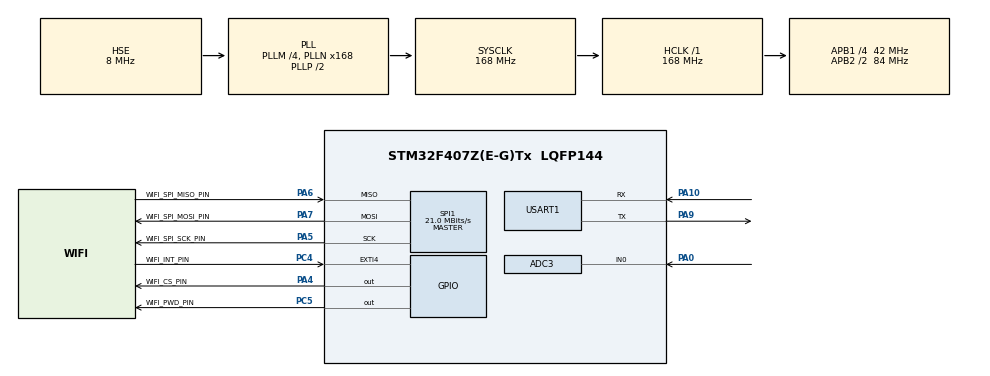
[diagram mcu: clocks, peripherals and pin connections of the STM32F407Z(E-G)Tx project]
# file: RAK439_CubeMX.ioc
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ADC3.Channel-0\#ChannelRegularConversion=ADC_CHANNEL_0
ADC3.NbrOfConversionFlag=1
ADC3.Rank-0\#ChannelRegularConversion=1
ADC3.SamplingTime-0\#ChannelRegularConversion=ADC_SAMPLETIME_3CYCLES
FREERTOS.INCLUDE_eTaskGetState=1
FREERTOS.INCLUDE_pcTaskGetTaskName=1
FREERTOS.INCLUDE_uxTaskGetStackHighWaterMark=1
FREERTOS.INCLUDE_vTaskCleanUpResources=1
FREERTOS.INCLUDE_vTaskDelayUntil=1
FREERTOS.Mutexes01=buf_mutex
FREERTOS.Tasks01=defaultTask,-3,128,StartDefaultTask;appTask,1,256,StartAppTask;clientTask,0,256,StartClientTask;mallocTask,0,128,StartMallocTask
FREERTOS.configCHECK_FOR_STACK_OVERFLOW=2
FREERTOS.configGENERATE_RUN_TIME_STATS=1
FREERTOS.configTOTAL_HEAP_SIZE=102400
FREERTOS.configUSE_MALLOC_FAILED_HOOK=1
FREERTOS.configUSE_TIMERS=0
FREERTOS.configUSE_TRACE_FACILITY=1
Mcu.Family=STM32F4
Mcu.Name=STM32F407Z(E-G)Tx
Mcu.Package=LQFP144
NVIC.EXTI4_IRQn=true\:5\:0\:true\:false\:true\:true
NVIC.PriorityGroup=NVIC_PRIORITYGROUP_4
NVIC.TIM1_UP_TIM10_IRQn=true\:0\:0\:false\:false\:true\:false
NVIC.TIM3_IRQn=true\:5\:0\:false\:false\:true\:true
NVIC.TimeBase=TIM1_UP_TIM10_IRQn
NVIC.TimeBaseIP=TIM1
PA0-WKUP.Signal=ADCx_IN0
PA10.Mode=Asynchronous
PA10.Signal=USART1_RX
PA4.GPIO_Label=WIFI_CS_PIN
PA4.GPIO_ModeDefaultOutputPP=GPIO_MODE_OUTPUT_PP
PA4.GPIO_PuPd=GPIO_PULLUP
PA4.GPIO_Speed=GPIO_SPEED_FREQ_HIGH
PA4.Signal=GPIO_Output
PA5.GPIO_Label=WIFI_SPI_SCK_PIN
PA5.GPIO_PuPd=GPIO_PULLUP
PA5.GPIO_Speed=GPIO_SPEED_FREQ_HIGH
PA5.Mode=Full_Duplex_Master
PA5.Signal=SPI1_SCK
PA6.GPIO_Label=WIFI_SPI_MISO_PIN
PA6.GPIO_PuPd=GPIO_PULLUP
PA6.GPIO_Speed=GPIO_SPEED_FREQ_HIGH
PA6.Mode=Full_Duplex_Master
PA6.Signal=SPI1_MISO
PA7.GPIO_Label=WIFI_SPI_MOSI_PIN
PA7.GPIO_PuPd=GPIO_PULLUP
PA7.GPIO_Speed=GPIO_SPEED_FREQ_HIGH
PA7.Mode=Full_Duplex_Master
PA7.Signal=SPI1_MOSI
PA9.Mode=Asynchronous
PA9.Signal=USART1_TX
PC14-OSC32_IN.Mode=LSE-External-Oscillator
PC14-OSC32_IN.Signal=RCC_OSC32_IN
PC15-OSC32_OUT.Mode=LSE-External-Oscillator
PC15-OSC32_OUT.Signal=RCC_OSC32_OUT
PC4.GPIO_Label=WIFI_INT_PIN
PC4.GPIO_ModeDefaultEXTI=GPIO_MODE_IT_FALLING
PC4.GPIO_PuPd=GPIO_NOPULL
PC4.Signal=GPXTI4
PC5.GPIO_Label=WIFI_PWD_PIN
PC5.GPIO_PuPd=GPIO_PULLUP
PC5.GPIO_Speed=GPIO_SPEED_FREQ_HIGH
PC5.Signal=GPIO_Output
PH0-OSC_IN.Mode=HSE-External-Oscillator
PH0-OSC_IN.Signal=RCC_OSC_IN
PH1-OSC_OUT.Mode=HSE-External-Oscillator
PH1-OSC_OUT.Signal=RCC_OSC_OUT
ProjectManager.HeapSize=0x200
ProjectManager.StackSize=0x400
ProjectManager.TargetToolchain=MDK-ARM V4
RCC.48MHZClocksFreq_Value=84000000
RCC.AHBFreq_Value=168000000
RCC.APB1CLKDivider=RCC_HCLK_DIV4
RCC.APB1Freq_Value=42000000
RCC.APB1TimCLKDivider=1
RCC.APB1TimFreq_Value=42000000
RCC.APB2CLKDivider=RCC_HCLK_DIV2
RCC.APB2Freq_Value=84000000
RCC.APB2TimCLKDivider=1
RCC.APB2TimFreq_Value=84000000
RCC.CortexFreq_Value=168000000
RCC.HCLKFreq_Value=168000000
RCC.HSE_VALUE=8000000
RCC.HSI_VALUE=16000000
RCC.PLLM=4
RCC.PLLN=168
RCC.PLLSourceVirtual=RCC_PLLSOURCE_HSE
RCC.SYSCLKFreq_VALUE=168000000
RCC.SYSCLKSource=RCC_SYSCLKSOURCE_PLLCLK
RCC.VCOOutputFreq_Value=336000000
SH.ADCx_IN0.0=ADC3_IN0,IN0
SPI1.BaudRatePrescaler=SPI_BAUDRATEPRESCALER_4
SPI1.CLKPhase=SPI_PHASE_2EDGE
SPI1.CLKPolarity=SPI_POLARITY_HIGH
SPI1.CRCCalculation=SPI_CRCCALCULATION_DISABLE
SPI1.CalculateBaudRate=21.0 MBits/s
SPI1.Mode=SPI_MODE_MASTER
TIM3.Period=1
TIM3.Prescaler=4200-1
VP_FREERTOS_VS_ENABLE.Mode=Enabled
VP_SYS_VS_tim1.Mode=TIM1
VP_TIM3_VS_ClockSourceINT.Mode=Internal
board=RAK439_CubeMX

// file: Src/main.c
/**
  ******************************************************************************
  * File Name          : main.c
  * Description        : Main program body
  ******************************************************************************
  *
  * COPYRIGHT(c) 2016 STMicroelectronics
  *
  * Redistribution and use in source and binary forms, with or without modification,
  * are permitted provided that the following conditions are met:
  *   1. Redistributions of source code must retain the above copyright notice,
  *      this list of conditions and the following disclaimer.
  *   2. Redistributions in binary form must reproduce the above copyright notice,
  *      this list of conditions and the following disclaimer in the documentation
  *      and/or other materials provided with the distribution.
  *   3. Neither the name of STMicroelectronics nor the names of its contributors
  *      may be used to endorse or promote products derived from this software
  *      without specific prior written permission.
  *
  * THIS SOFTWARE IS PROVIDED BY THE COPYRIGHT HOLDERS AND CONTRIBUTORS "AS IS"
  * AND ANY EXPRESS OR IMPLIED WARRANTIES, INCLUDING, BUT NOT LIMITED TO, THE
  * IMPLIED WARRANTIES OF MERCHANTABILITY AND FITNESS FOR A PARTICULAR PURPOSE ARE
  * DISCLAIMED. IN NO EVENT SHALL THE COPYRIGHT HOLDER OR CONTRIBUTORS BE LIABLE
  * FOR ANY DIRECT, INDIRECT, INCIDENTAL, SPECIAL, EXEMPLARY, OR CONSEQUENTIAL
  * DAMAGES (INCLUDING, BUT NOT LIMITED TO, PROCUREMENT OF SUBSTITUTE GOODS OR
  * SERVICES; LOSS OF USE, DATA, OR PROFITS; OR BUSINESS INTERRUPTION) HOWEVER
  * CAUSED AND ON ANY THEORY OF LIABILITY, WHETHER IN CONTRACT, STRICT LIABILITY,
  * OR TORT (INCLUDING NEGLIGENCE OR OTHERWISE) ARISING IN ANY WAY OUT OF THE USE
  * OF THIS SOFTWARE, EVEN IF ADVISED OF THE POSSIBILITY OF SUCH DAMAGE.
  *
  ******************************************************************************
  */
#include "stm32f4xx_hal.h"
#include "cmsis_os.h"
#include "adc.h"
#include "spi.h"
#include "tim.h"
#include "usart.h"
#include "gpio.h"

/* USER CODE BEGIN PV */
/* Private variables ---------------------------------------------------------*/

/* USER CODE END PV */

void SystemClock_Config(void);
void Error_Handler(void);
void MX_FREERTOS_Init(void);

/* USER CODE BEGIN PFP */
/* Private function prototypes -----------------------------------------------*/

/* USER CODE END PFP */

int main(void)
{

  /* MCU Configuration----------------------------------------------------------*/

  /* Reset of all peripherals, Initializes the Flash interface and the Systick. */
  HAL_Init();

  /* Configure the system clock */
  SystemClock_Config();

  /* Initialize all configured peripherals */
  MX_GPIO_Init();
  MX_USART1_UART_Init();
  MX_ADC3_Init();
  MX_SPI1_Init();
  MX_TIM3_Init();

  /* USER CODE BEGIN 2 */
  printf("HAL_Init is sucess\r\n");
  /* USER CODE END 2 */

  /* Call init function for freertos objects (in freertos.c) */
  MX_FREERTOS_Init();

  /* Start scheduler */
  osKernelStart();

  /* We should never get here as control is now taken by the scheduler */

  /* Infinite loop */
  while (1)
  {

  }

}

/** System Clock Configuration
*/
void SystemClock_Config(void)
{

  RCC_OscInitTypeDef RCC_OscInitStruct;
  RCC_ClkInitTypeDef RCC_ClkInitStruct;

  __HAL_RCC_PWR_CLK_ENABLE();

  __HAL_PWR_VOLTAGESCALING_CONFIG(PWR_REGULATOR_VOLTAGE_SCALE1);

  RCC_OscInitStruct.OscillatorType = RCC_OSCILLATORTYPE_HSE;
  RCC_OscInitStruct.HSEState = RCC_HSE_ON;
  RCC_OscInitStruct.PLL.PLLState = RCC_PLL_ON;
  RCC_OscInitStruct.PLL.PLLSource = RCC_PLLSOURCE_HSE;
  RCC_OscInitStruct.PLL.PLLM = 4;
  RCC_OscInitStruct.PLL.PLLN = 168;
  RCC_OscInitStruct.PLL.PLLP = RCC_PLLP_DIV2;
  RCC_OscInitStruct.PLL.PLLQ = 4;
  if (HAL_RCC_OscConfig(&RCC_OscInitStruct) != HAL_OK)
  {
    Error_Handler();
  }

  RCC_ClkInitStruct.ClockType = RCC_CLOCKTYPE_HCLK|RCC_CLOCKTYPE_SYSCLK
                              |RCC_CLOCKTYPE_PCLK1|RCC_CLOCKTYPE_PCLK2;
  RCC_ClkInitStruct.SYSCLKSource = RCC_SYSCLKSOURCE_PLLCLK;
  RCC_ClkInitStruct.AHBCLKDivider = RCC_SYSCLK_DIV1;
  RCC_ClkInitStruct.APB1CLKDivider = RCC_HCLK_DIV4;
  RCC_ClkInitStruct.APB2CLKDivider = RCC_HCLK_DIV2;
  if (HAL_RCC_ClockConfig(&RCC_ClkInitStruct, FLASH_LATENCY_5) != HAL_OK)
  {
    Error_Handler();
  }

  HAL_SYSTICK_Config(HAL_RCC_GetHCLKFreq()/1000);

  HAL_SYSTICK_CLKSourceConfig(SYSTICK_CLKSOURCE_HCLK);

  /* SysTick_IRQn interrupt configuration */
  HAL_NVIC_SetPriority(SysTick_IRQn, 15, 0);
}

void HAL_TIM_PeriodElapsedCallback(TIM_HandleTypeDef *htim)
{
/* USER CODE BEGIN Callback 0 */
  if(htim->Instance == TIM3) {
    Tim3Counter++;
  }

/* USER CODE END Callback 0 */
  if (htim->Instance == TIM1) {
    HAL_IncTick();
  }
}

void Error_Handler(void)
{
  while(1)
  {
  }
}

#ifdef USE_FULL_ASSERT

/**
   * @brief Reports the name of the source file and the source line number
   * where the assert_param error has occurred.
   * @param file: pointer to the source file name
   * @param line: assert_param error line source number
   * @retval None
   */
void assert_failed(uint8_t* file, uint32_t line)
{
  /* USER CODE BEGIN 6 */
  /* User can add his own implementation to report the file name and line number,
    ex: printf("Wrong parameters value: file %s on line %d\r\n", file, line) */
	while(1){
		printf("Wrong parameters value: file %s on line %d\r\n", file, line);
		osDelay(1000);
	}
  /* USER CODE END 6 */

}

#endif

/************************ (C) COPYRIGHT STMicroelectronics *****END OF FILE****/

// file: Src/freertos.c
/**
******************************************************************************
* File Name          : freertos.c
* Description        : Code for freertos applications
******************************************************************************
*
* COPYRIGHT(c) 2016 STMicroelectronics
*
* Redistribution and use in source and binary forms, with or without modification,
* are permitted provided that the following conditions are met:
*   1. Redistributions of source code must retain the above copyright notice,
*      this list of conditions and the following disclaimer.
*   2. Redistributions in binary form must reproduce the above copyright notice,
*      this list of conditions and the following disclaimer in the documentation
*      and/or other materials provided with the distribution.
*   3. Neither the name of STMicroelectronics nor the names of its contributors
*      may be used to endorse or promote products derived from this software
*      without specific prior written permission.
*
* THIS SOFTWARE IS PROVIDED BY THE COPYRIGHT HOLDERS AND CONTRIBUTORS "AS IS"
* AND ANY EXPRESS OR IMPLIED WARRANTIES, INCLUDING, BUT NOT LIMITED TO, THE
* IMPLIED WARRANTIES OF MERCHANTABILITY AND FITNESS FOR A PARTICULAR PURPOSE ARE
* DISCLAIMED. IN NO EVENT SHALL THE COPYRIGHT HOLDER OR CONTRIBUTORS BE LIABLE
* FOR ANY DIRECT, INDIRECT, INCIDENTAL, SPECIAL, EXEMPLARY, OR CONSEQUENTIAL
* DAMAGES (INCLUDING, BUT NOT LIMITED TO, PROCUREMENT OF SUBSTITUTE GOODS OR
* SERVICES; LOSS OF USE, DATA, OR PROFITS; OR BUSINESS INTERRUPTION) HOWEVER
* CAUSED AND ON ANY THEORY OF LIABILITY, WHETHER IN CONTRACT, STRICT LIABILITY,
* OR TORT (INCLUDING NEGLIGENCE OR OTHERWISE) ARISING IN ANY WAY OUT OF THE USE
* OF THIS SOFTWARE, EVEN IF ADVISED OF THE POSSIBILITY OF SUCH DAMAGE.
*
******************************************************************************
*/

#include "FreeRTOS.h"
#include "task.h"
#include "cmsis_os.h"

/* USER CODE BEGIN Includes */
#include "rw_app.h"
#include "tim.h"
/* USER CODE END Includes */

osThreadId defaultTaskHandle;
osThreadId appTaskHandle;
osThreadId clientTaskHandle;
osThreadId mallocTaskHandle;
osMutexId buf_mutexHandle;
#define SIZE 53

void StartDefaultTask(void const * argument);
void StartAppTask(void const * argument);
void StartClientTask(void const * argument);
void StartMallocTask(void const * argument);

void MX_FREERTOS_Init(void); /* (MISRA C 2004 rule 8.1) */

/* USER CODE BEGIN FunctionPrototypes */

/************************************
// Method:    platform_init
// Date:  	  2016/06/27
// Access:    public
// Returns:   int
// Qualifier:
// Parameter: void
// Function:  配置RAK439参数和初始化驱动 获取RAK439库版本与物理地址
************************************/
int platform_init(void)
{
    rw_DriverParams_t     params;
    int                   ret =0;
    char                  libVersion[20]="";
    char                  module_mac[6] ="";

    /*RAK439用户参数配置*/
    wifi_init_params(&params);

    /*RAK439驱动初始化*/
    ret =rw_sysDriverInit(&params);
    DPRINTF("rw_sysDriverInit ret:%d\r\n",ret);
    if(ret != RW_OK)
    {
        DPRINTF("RAK module platform init...failed\r\n");
        while(1);
    }

    /*获取RAK439库版本*/
    rw_getLibVersion(libVersion);
    DPRINTF("rak wifi LibVersion:%s\r\n", libVersion);

    /*获取RAK439物理地址*/
    rw_getMacAddr(module_mac);
    DPRINTF("rak wifi module-MAC:%02X:%02X:%02X:%02X:%02X:%02X\r\n", module_mac[0],module_mac[1],module_mac[2],module_mac[3],module_mac[4],module_mac[5]);

    return RW_OK;
}

/************************************
// Method:    get_xtask_state
// Date:  	  2016/06/27
// Access:    public
// Returns:   void
// Qualifier:
// Parameter: void
// Function:  获取每个任务的状态信息
************************************/
void get_xtask_state(void)
{
    char tmp[128] = "";
    int res_getstate = 0;
    const char task_state[]={'r','R','B','S','D'};
    volatile UBaseType_t uxArraySize, index;
    uint32_t ulTotalRunTime,ulStatsAsPercentage;
    TaskStatus_t *pxTaskStatusArray = NULL;

    /*获取任务数目，至少有一个任务（该任务为freertos的IDLE空闲任务）*/
    uxArraySize = uxTaskGetNumberOfTasks();
    assert_param(uxArraySize>0);

    /*为任务信息变量分配内存*/
    pxTaskStatusArray = pvPortMalloc(sizeof(TaskStatus_t)*uxArraySize);
    assert_param(pxTaskStatusArray);

    /*获取任务信息*/
    res_getstate = uxTaskGetSystemState(pxTaskStatusArray,uxArraySize,&ulTotalRunTime);
    assert_param(res_getstate);

    //DPRINTF("********************任务信息统计表*********************\r\n\r\n");
    //DPRINTF("任务名    状态    ID  优先级   堆栈  CPU使用率\r\n");
    if (ulTotalRunTime>0)
    {
        for (index=0; index<uxArraySize; index++)
        {
            ulStatsAsPercentage = (uint64_t)(pxTaskStatusArray[index].ulRunTimeCounter)*100 / ulTotalRunTime;
            if (ulStatsAsPercentage > 0UL)
            {
                sprintf(tmp,"%-12s%-6c%-6ld%-8ld%-8d%d%%",
                    pxTaskStatusArray[index].pcTaskName,
                    task_state[pxTaskStatusArray[index].eCurrentState],
                    pxTaskStatusArray[index].xTaskNumber,
                    pxTaskStatusArray[index].uxCurrentPriority,
                    pxTaskStatusArray[index].usStackHighWaterMark,
                    ulStatsAsPercentage);
            }
            else
            {
                sprintf(tmp,"%-12s%-6c%-6ld%-8ld%-8dt<1%%",
                    pxTaskStatusArray[index].pcTaskName,
                    task_state[pxTaskStatusArray[index].eCurrentState],
                    pxTaskStatusArray[index].xTaskNumber,
                    pxTaskStatusArray[index].uxCurrentPriority,
                    pxTaskStatusArray[index].usStackHighWaterMark);
            }
            //DPRINTF("%s\r\n",tmp);
        }
    }
    //DPRINTF("任务状态:   r-运行  R-就绪  B-阻塞  S-挂起  D-删除\r\n");
    DPRINTF("内存剩余量:%d Byte\r\n\r\n",xPortGetFreeHeapSize());

    /*释放内存*/
    vPortFree(pxTaskStatusArray);
}

/* USER CODE END FunctionPrototypes */

/* Hook prototypes */
void configureTimerForRunTimeStats(void);
unsigned long getRunTimeCounterValue(void);
void vApplicationStackOverflowHook(xTaskHandle xTask, signed char *pcTaskName);
void vApplicationMallocFailedHook(void);

/* USER CODE BEGIN 1 */
/* Functions needed when configGENERATE_RUN_TIME_STATS is on */
void configureTimerForRunTimeStats(void)
{
    HAL_TIM_Base_Start_IT(&htim3);
}

unsigned long getRunTimeCounterValue(void)
{
    /*返回定时器3中断处理函数的变量*/
    return Tim3Counter;
}
/* USER CODE END 1 */

/* USER CODE BEGIN 4 */
void vApplicationStackOverflowHook(xTaskHandle xTask, signed char *pcTaskName)
{
    /* Run time stack overflow checking is performed if
    configCHECK_FOR_STACK_OVERFLOW is defined to 1 or 2. This hook function is
    called if a stack overflow is detected. */
    DPRINTF("%s StackOverFlow!\r\n",pcTaskName);
}
/* USER CODE END 4 */

/* USER CODE BEGIN 5 */
void vApplicationMallocFailedHook(void)
{
    /* vApplicationMallocFailedHook() will only be called if
    configUSE_MALLOC_FAILED_HOOK is set to 1 in FreeRTOSConfig.h. It is a hook
    function that will get called if a call to pvPortMalloc() fails.
    pvPortMalloc() is called internally by the kernel whenever a task, queue,
    timer or semaphore is created. It is also called by various parts of the
    demo application. If heap_1.c or heap_2.c are used, then the size of the
    heap available to pvPortMalloc() is defined by configTOTAL_HEAP_SIZE in
    FreeRTOSConfig.h, and the xPortGetFreeHeapSize() API function can be used
    to query the size of free heap space that remains (although it does not
    provide information on how the remaining heap might be fragmented). */
    DPRINTF("vApplicationMallocFailedHook!\r\n");
}
/* USER CODE END 5 */

/* Init FreeRTOS */

void MX_FREERTOS_Init(void) {

    /* Create the mutex(es) */
    /* definition and creation of buf_mutex */
    osMutexDef(buf_mutex);
    buf_mutexHandle = osMutexCreate(osMutex(buf_mutex));

    /* Create the thread(s) */
    /* definition and creation of defaultTask */
    osThreadDef(defaultTask, StartDefaultTask, osPriorityIdle, 0, 128);
    defaultTaskHandle = osThreadCreate(osThread(defaultTask), NULL);

    /* definition and creation of appTask */
    osThreadDef(appTask, StartAppTask, osPriorityAboveNormal, 0, 256);
    appTaskHandle = osThreadCreate(osThread(appTask), NULL);

    /* definition and creation of clientTask */
    //osThreadDef(clientTask, StartClientTask, osPriorityNormal, 0, 256);
    //clientTaskHandle = osThreadCreate(osThread(clientTask), NULL);

    /* definition and creation of mallocTask */
    //osThreadDef(mallocTask, StartMallocTask, osPriorityNormal, 0, 128);
    //mallocTaskHandle = osThreadCreate(osThread(mallocTask), NULL);

}

/* StartDefaultTask function */
void StartDefaultTask(void const * argument)
{

    /* USER CODE BEGIN StartDefaultTask */
    /* Infinite loop */

    /*每隔5秒获取一次每个任务的状态信息*/
    for(;;)
    {
        get_xtask_state();
        osDelay(5000);
    }
    /* USER CODE END StartDefaultTask */
}

/* StartAppTask function */
/************************************
// Method:    StartAppTask
// Date:  	  2016/07/04
// Access:    public
// Returns:   void
// Qualifier:
// Parameter: void const * argument
// Function:  此任务用于检测RAK439连接路由器的状态 从而来控制clientTask任务
************************************/
void StartAppTask(void const * argument)
{
    /* USER CODE BEGIN StartAppTask */

    int ret = RW_OK;
    /*RAK439驱动初始化*/
    platform_init();

    /*初始化app变量*/
    rw_appdemo_context_init();

    /*连接路由器*/
    //此功能函数会阻塞一段时间
    ret = rw_network_startSTA();
    osThreadDef(clientTask, StartClientTask, osPriorityNormal, 0, 2048);
    clientTaskHandle = osThreadCreate(osThread(clientTask), NULL);

    /* Infinite loop */
    for(;;)
    {
        if (app_demo_ctx.rw_connect_status == STATUS_FAIL || app_demo_ctx.rw_ipquery_status == STATUS_FAIL) {
            DPRINTF("reconnect and ipquery...\r\n");
            /*删除clientTask*/
            //osThreadTerminate(clientTaskHandle);
            //rw_appdemo_context_init();
            //rw_sysDriverReset();
            //也可以直接调用rw_network_startSTA()实现路由器重连功能
            //rw_network_startSTA();
            //osThreadDef(clientTask, StartClientTask, osPriorityNormal, 0, 256);
            //clientTaskHandle = osThreadCreate(osThread(clientTask), NULL);

        }
        rw_sysSleep(100);

    }
    /* USER CODE END StartAppTask */
}

/* StartClientTask function */

void StartClientTask(void const * argument)
{
    /* USER CODE BEGIN StartClientTask */
    int      ret = 0;
    char str[SIZE];
		memset(str, 0, sizeof(str));
		int tmpIndex = 0;
		for (int i = 0; i < SIZE; ++i)
		{
			str[i] = ('0' + tmpIndex);
			++tmpIndex;
			if (tmpIndex == 10)
			{
				tmpIndex = 0;
			}
		}
		str[SIZE - 3] = '\r';
		str[SIZE - 2] = '\n';
		str[SIZE - 1] = '\0';
	  DPRINTF("str:%s\r\n",str);
		char revBuff[SIZE];
		memset(revBuff,0,SIZE);
    /* Infinite loop */
    for(;;)
    {
reconnect:
        //
        if(app_demo_ctx.rw_connect_status != STATUS_OK && app_demo_ctx.rw_ipquery_status != STATUS_OK)
        {
            DPRINTF("未连接服务器\r\n");
            rw_sysSleep(1000);
            goto reconnect;
        }

        if(app_demo_ctx.rw_connect_status == STATUS_OK && app_demo_ctx.rw_ipquery_status == STATUS_OK)
        {
            if (app_demo_ctx.tcp_cloud_sockfd == INVAILD_SOCK_FD)
            {
                if((ret =RAK_TcpClient(8000, 0xC0A80469)) >= 0)
                {
                    app_demo_ctx.tcp_cloud_sockfd = ret;
                    app_demo_ctx.tcp_cloud_status = STATUS_OK;
                    DPRINTF("RAK_TcpClient sockfd = %u creat\r\n",app_demo_ctx.tcp_cloud_sockfd);
										DPRINTF("SEND START***************************************\r\n\r\n");
                    ret = send(app_demo_ctx.tcp_cloud_sockfd,str,strlen(str),0);
										DPRINTF("SEND End***************************************\r\n\r\n");
										DPRINTF("send ret1:%d\r\n",ret);

										ret = send(app_demo_ctx.tcp_cloud_sockfd,str,strlen(str),0);
										DPRINTF("send ret2:%d\r\n",ret);

									  recv(app_demo_ctx.tcp_cloud_sockfd,revBuff,sizeof(revBuff),0);
										DPRINTF("revFromServer:%s\r\n",revBuff);

									  close(app_demo_ctx.tcp_cloud_sockfd);
                    app_demo_ctx.tcp_cloud_status = STATUS_INIT;
                    app_demo_ctx.tcp_cloud_sockfd = INVAILD_SOCK_FD; //close tcp ,for next reconnect.
										break;

                }
                else
                {
                    if(ret == RW_ERR || ret==RW_ERR_TIME_OUT)
                    {
                        DPRINTF("RAK_TcpClient creat failed code=%d\r\n", ret);
                        rw_sysSleep(100);
                        goto reconnect;
                    }
                }
            }
        }
        rw_sysSleep(1000);
    }
    /* USER CODE END StartClientTask */
}

/* StartMallocTask function */
void StartMallocTask(void const * argument)
{
    /* USER CODE BEGIN StartMallocTask */
    uint8_t *test_mallocbuff = NULL;
    uint32_t MallocNum = 1024;
    uint8_t test_value = 1;
    uint32_t index = 0,Sum = 0;

    /*输出任务名字*/
    DPRINTF("%s is Run\r\n",pcTaskGetTaskName(NULL));

    /* Infinite loop */
    for(;;)
    {
        /*分配内存并赋初值*/
        test_mallocbuff = (uint8_t *)pvPortMalloc(sizeof(uint8_t)*MallocNum);
        memset(test_mallocbuff,test_value,MallocNum);

        /*求和*/
        Sum = 0;
        for (index = 0; index < MallocNum; index++)
        {
            Sum += *(test_mallocbuff+index);
        }
        assert_param(Sum == (test_value*MallocNum));
        vPortFree(test_mallocbuff);
        osDelay(50);
    }
    /* USER CODE END StartMallocTask */
}

/************************ (C) COPYRIGHT STMicroelectronics *****END OF FILE****/
